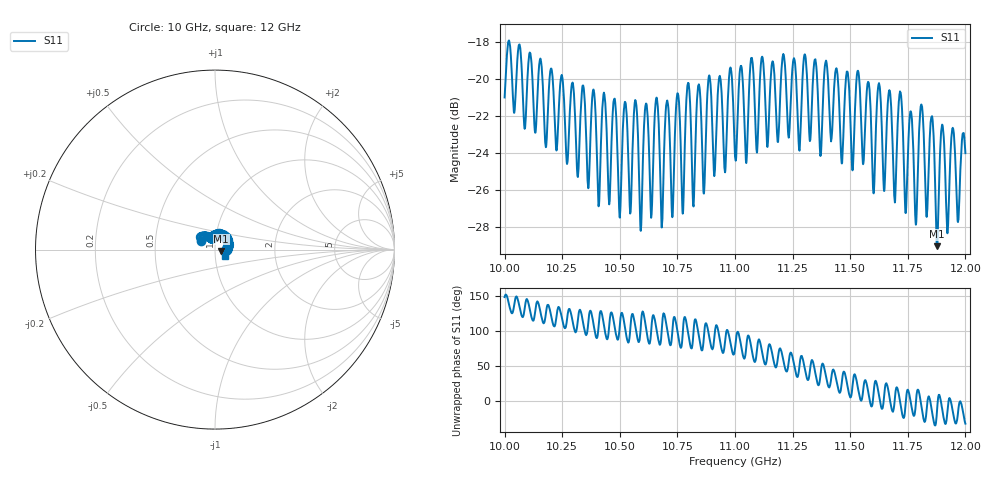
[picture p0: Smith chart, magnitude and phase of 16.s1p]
[Version] 2.0
! Rohde & Schwarz Vector Network Analyzer
! Rohde-Schwarz,ZNL20-2Port,1323001220200009,1.71.1.10-23.02.1.238
! Port Assignments:
! Nominal Port -> Actual Test Port
!  1 -> 1
! Created: GMT 2024-09-04 12:02:42
# Hz S DB R 50
[Number of Ports] 1
! freq[Hz]  S11[mag dB]  S11[ang]
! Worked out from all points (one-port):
!   2001 points, 10 GHz to 12 GHz, reference 50 ohm
!   lowest |S11| = -29.0 dB at 11.88 GHz (marker M1), VSWR 1.07, Z = 53.6 - j0.865 ohm
!   |S11| at or under -10 dB: start of sweep to end of sweep
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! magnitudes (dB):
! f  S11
! 10 GHz  -21.0
! 10.25 GHz  -19.9
! 10.36 GHz  -25.9
! 10.39 GHz  -20.6
! 10.41 GHz  -26.9
! 10.48 GHz  -21.0
! 10.5 GHz  -27.5
! 10.57 GHz  -21.2
! 10.59 GHz  -28.1
! 10.64 GHz  -27.4
! 10.66 GHz  -21.0
! 10.73 GHz  -27.4
! 10.75 GHz  -20.8
! 10.77 GHz  -27.3
! 10.8 GHz  -20.2
! 10.82 GHz  -26.8
! 10.84 GHz  -20.3
! 10.86 GHz  -26.2
! 10.89 GHz  -19.8
! 11 GHz  -24.2
! 11.25 GHz  -19.3
! 11.5 GHz  -21.9
! 11.75 GHz  -24.3
! 11.86 GHz  -22.0
! 11.88 GHz  -29.0
! 11.9 GHz  -22.4
! 11.92 GHz  -28.3
! 12 GHz  -24.0
